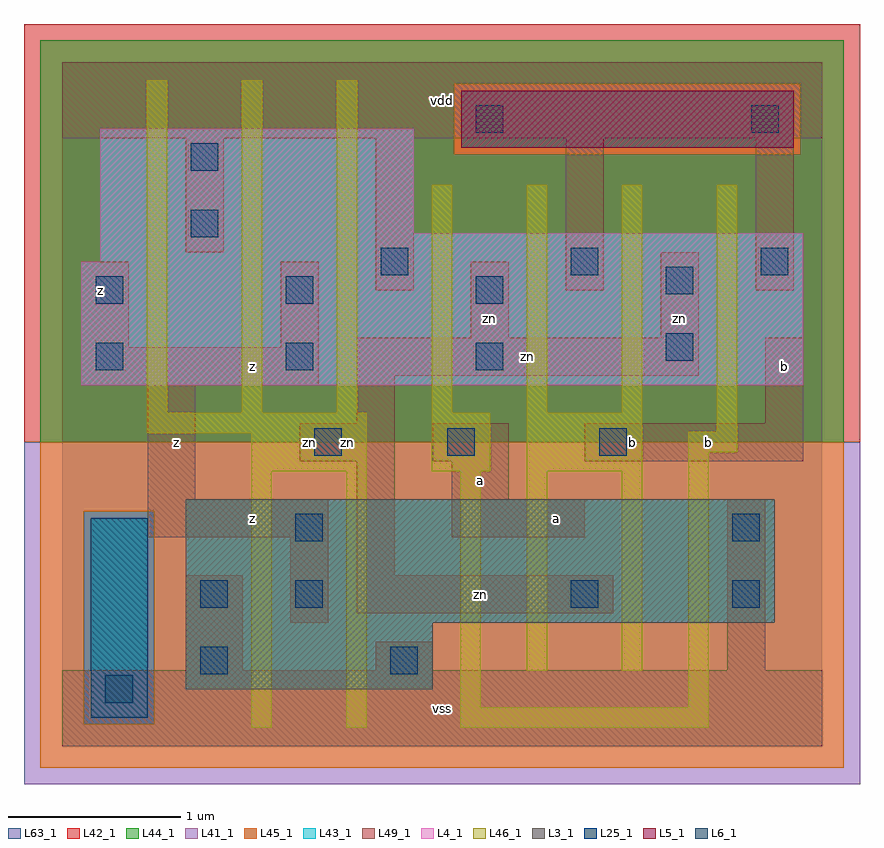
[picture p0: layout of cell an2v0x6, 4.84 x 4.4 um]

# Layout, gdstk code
import gdstk
lib = gdstk.Library(unit=1e-6, precision=1e-09)
def R(c, l, rs):  # rectangles x0, y0, x1, y1
    for r in rs: c.add(gdstk.rectangle(r[:2], r[2:], *l))
def A(c, l, x, y, w, h, nx, ny, dx, dy):  # array of equal rectangles
    R(c, l, [(x+i*dx, y+j*dy, x+i*dx+w, y+j*dy+h) for i in range(nx) for j in range(ny)])
L3_1 = (3, 1)
L4_1 = (4, 1)
L5_1 = (5, 1)
L6_1 = (6, 1)
L25_1 = (25, 1)
L41_1 = (41, 1)
L42_1 = (42, 1)
L43_1 = (43, 1)
L44_1 = (44, 1)
L45_1 = (45, 1)
L46_1 = (46, 1)
L49_1 = (49, 1)
L63_1 = (63, 1)

an2v0x6 = lib.new_cell('an2v0x6')
R(an2v0x6, L3_1, [(0.715,0.33,2.145,0.715), (0.715,0.715,4.125,1.43)])
R(an2v0x6, L4_1, [(0.11,2.09,4.29,2.805), (0.22,2.805,4.29,2.97), (0.22,2.97,2.035,3.575)])
R(an2v0x6, L5_1, [(2.31,3.465,4.235,3.795)])
R(an2v0x6, L6_1, [(0.165,0.165,0.495,1.32)])
A(an2v0x6, L25_1, 0.195, 2.175, 0.16, 0.16, 3, 2, 1.1, 0.385)
A(an2v0x6, L25_1, 1.845, 2.725, 0.16, 0.16, 3, 1, 1.1, 0)
R(an2v0x6, L25_1, [(0.25,0.25,0.41,0.41), (0.8,0.415,0.96,0.575), (1.9,0.415,2.06,0.575), (0.8,0.8,0.96,0.96), (1.35,0.8,1.51,0.96), (2.945,0.8,3.105,0.96), (3.88,0.8,4.04,0.96), (1.35,1.185,1.51,1.345), (3.88,1.185,4.04,1.345), (1.46,1.68,1.62,1.84), (2.23,1.68,2.39,1.84), (3.11,1.68,3.27,1.84), (3.495,2.23,3.655,2.39), (3.495,2.615,3.655,2.775), (0.745,2.945,0.905,3.105), (0.745,3.33,0.905,3.49), (2.395,3.55,2.555,3.71), (3.99,3.55,4.15,3.71)])
R(an2v0x6, L41_1, [(-0.22,-0.22,4.62,1.76)])
R(an2v0x6, L42_1, [(-0.22,1.76,4.62,4.18)])
R(an2v0x6, L43_1, [(0.165,0.165,0.495,1.32), (0.715,0.33,2.145,0.715), (0.715,0.715,4.125,1.43), (0.11,2.09,4.29,2.805), (0.22,2.805,4.29,2.97), (0.22,2.97,2.035,3.575), (2.31,3.465,4.235,3.795)])
R(an2v0x6, L44_1, [(0.125,0.125,0.535,1.36), (-0.125,1.76,4.525,3.425), (-0.125,3.425,2.27,3.835), (4.275,3.425,4.525,3.835), (-0.125,3.835,4.525,4.085)])
R(an2v0x6, L45_1, [(-0.125,-0.125,4.525,0.125), (-0.125,0.125,0.125,1.36), (0.535,0.125,4.525,1.36), (-0.125,1.36,4.525,1.76), (2.27,3.425,4.275,3.835)])
A(an2v0x6, L46_1, 0.49, 1.93, 0.12, 1.925, 3, 1, 0.55, 0)
A(an2v0x6, L46_1, 2.14, 1.93, 0.12, 1.32, 3, 1, 0.55, 0)
R(an2v0x6, L46_1, [(1.095,0.105,1.215,1.59), (1.645,0.105,1.765,1.59), (2.305,0.105,3.745,0.225), (2.305,0.225,2.425,1.59), (3.625,0.225,3.745,1.7), (2.69,0.435,2.81,1.59), (3.24,0.435,3.36,1.59), (1.095,1.59,1.765,1.81), (2.14,1.59,2.48,1.93), (2.69,1.59,3.36,1.93), (3.625,1.7,3.91,1.82), (0.49,1.81,1.765,1.93), (3.79,1.82,3.91,3.25)])
A(an2v0x6, L49_1, 1.815, 2.64, 0.22, 0.88, 3, 1, 1.1, 0)
R(an2v0x6, L49_1, [(0,0,4.4,0.44), (0.715,0.44,1.045,0.99), (1.815,0.44,2.145,0.605), (3.85,0.44,4.07,1.43), (1.32,0.715,1.54,1.21), (1.705,0.77,3.19,0.99), (1.705,0.99,1.925,1.65), (0.495,1.21,1.54,1.43), (2.255,1.21,3.025,1.43), (0.495,1.43,0.77,2.09), (2.255,1.43,2.585,1.65), (1.375,1.65,1.925,1.87), (2.145,1.65,2.585,1.87), (3.025,1.65,4.29,1.87), (1.705,1.87,1.925,2.145), (4.07,1.87,4.29,2.365), (0.11,2.09,1.485,2.31), (1.705,2.145,3.685,2.365), (0.11,2.31,0.385,2.805), (1.265,2.31,1.485,2.805), (2.365,2.365,2.585,2.805), (3.465,2.365,3.685,2.86), (0.715,2.86,0.935,3.52), (0,3.52,4.4,3.96)])
R(an2v0x6, L63_1, [(0,0,4.4,3.96)])
an2v0x6.add(gdstk.Label('zn', (1.43,1.76), layer=46, texttype=1))
an2v0x6.add(gdstk.Label('z', (0.66,1.76), layer=49, texttype=1))
an2v0x6.add(gdstk.Label('z', (0.22,2.64), layer=49, texttype=1))
an2v0x6.add(gdstk.Label('z', (1.1,1.32), layer=49, texttype=1))
an2v0x6.add(gdstk.Label('zn', (1.65,1.76), layer=49, texttype=1))
an2v0x6.add(gdstk.Label('z', (1.1,2.2), layer=49, texttype=1))
an2v0x6.add(gdstk.Label('vss', (2.2,0.22), layer=49, texttype=1))
an2v0x6.add(gdstk.Label('zn', (2.42,0.88), layer=49, texttype=1))
an2v0x6.add(gdstk.Label('a', (2.42,1.54), layer=49, texttype=1))
an2v0x6.add(gdstk.Label('a', (2.86,1.32), layer=49, texttype=1))
an2v0x6.add(gdstk.Label('zn', (2.475,2.475), layer=49, texttype=1))
an2v0x6.add(gdstk.Label('vdd', (2.2,3.74), layer=49, texttype=1))
an2v0x6.add(gdstk.Label('b', (3.3,1.76), layer=49, texttype=1))
an2v0x6.add(gdstk.Label('b', (3.74,1.76), layer=49, texttype=1))
an2v0x6.add(gdstk.Label('b', (4.18,2.2), layer=49, texttype=1))
an2v0x6.add(gdstk.Label('zn', (3.575,2.475), layer=49, texttype=1))
an2v0x6.add(gdstk.Label('zn', (2.695,2.255), layer=49, texttype=1))

lib.write_gds('an2v0x6.gds')
